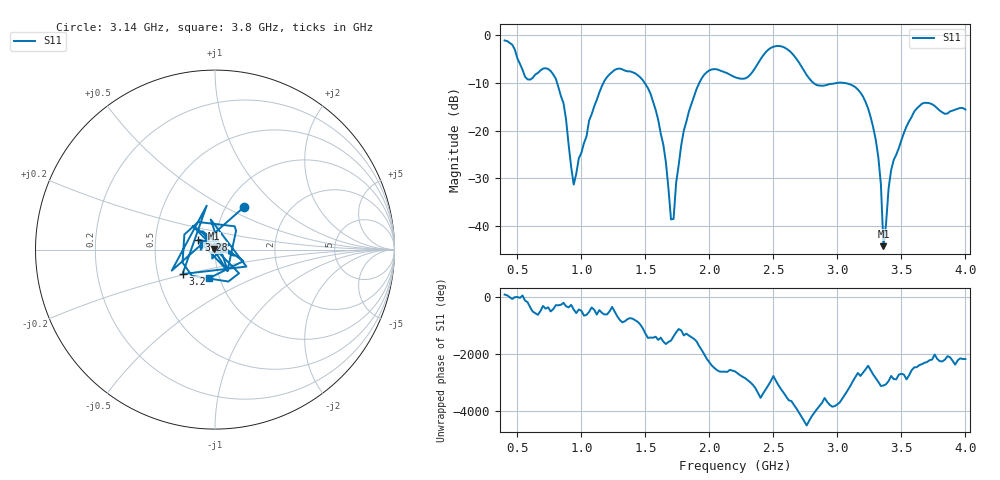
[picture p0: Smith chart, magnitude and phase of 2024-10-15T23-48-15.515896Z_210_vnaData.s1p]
! Created with skrf (http://scikit-rf.org).
# Hz S RI R 50.0
!freq ReS11 ImS11
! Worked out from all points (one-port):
!   181 points, 400 MHz to 4 GHz, reference 50 ohm
!   lowest |S11| = -44.1 dB at 3.36 GHz (marker M1), VSWR 1.01, Z = 49.6 + j0.492 ohm
!   |S11| at or under -10 dB: 809.4 MHz to 1.173 GHz (363.7 MHz wide, 36.7 % of centre); 1.493 GHz to 1.922 GHz (429.6 MHz wide, 25.2 % of centre); 3.031 GHz to end of sweep (the widest 3 of 4)
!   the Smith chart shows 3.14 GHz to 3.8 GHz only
!   S11 on the Smith chart (normalised r, x): 3.14 GHz: 1.21, +0.62; 3.2 GHz: 0.67, -0.19; 3.28 GHz: 0.83, +0.09; 3.8 GHz: 0.89, -0.29
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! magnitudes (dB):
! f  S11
! 400 MHz  -1.2
! 580 MHz  -9.3
! 760 MHz  -7.6
! 860 MHz  -14.2
! 940 MHz  -31.3
! 1.14 GHz  -12.1
! 1.3 GHz  -7.1
! 1.54 GHz  -12.3
! 1.64 GHz  -23.0
! 1.7 GHz  -38.6
! 1.72 GHz  -38.5
! 1.76 GHz  -27.2
! 1.8 GHz  -20.0
! 1.94 GHz  -9.1
! 2.2 GHz  -8.9
! 2.5 GHz  -2.5
! 2.66 GHz  -4.3
! 2.84 GHz  -10.5
! 3.1 GHz  -10.4
! 3.14 GHz  -10.9
! 3.2 GHz  -12.9
! 3.28 GHz  -19.4
! 3.34 GHz  -31.3
! 3.36 GHz  -44.1
! 3.42 GHz  -28.2
! 3.56 GHz  -18.1
! 3.8 GHz  -15.8
! 4 GHz  -15.6
